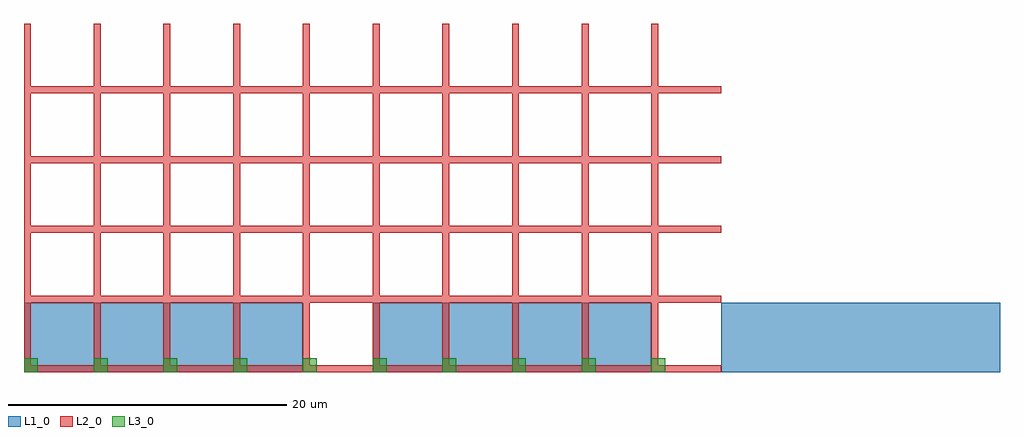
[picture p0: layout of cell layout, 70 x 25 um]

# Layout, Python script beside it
import gdspy

# Define the library and cell for the GDS layout
lib = gdspy.GdsLibrary()
cell = lib.new_cell('layout')

# Draw three rectangular active regions
active_region_width = 20
active_region_height = 5
active_region_spacing = 5
for i in range(3):
    x = i * (active_region_width + active_region_spacing)
    rect = gdspy.Rectangle((x, 0), (x + active_region_width, active_region_height), layer=1)
    cell.add(rect)

# Create a complex polysilicon gate pattern
gate_width = 0.5
gate_pitch = 5
num_vertical_gates = 10
num_horizontal_gates = 5
for i in range(num_vertical_gates):
    x = i * gate_pitch
    for j in range(num_horizontal_gates):
        y = j * gate_pitch
        # Vertical lines
        vline = gdspy.Rectangle((x, y), (x + gate_width, y + gate_pitch), layer=2)
        cell.add(vline)
        # Horizontal lines
        hline = gdspy.Rectangle((x, y), (x + gate_pitch, y + gate_width), layer=2)
        cell.add(hline)

# Add several contact holes at the intersections of the polysilicon gate pattern and the active regions
contact_size = 1
for i in range(num_vertical_gates):
    x = i * gate_pitch
    for j in range(num_horizontal_gates):
        y = j * gate_pitch
        # Check if contact hole is within an active region
        if x < (active_region_width + active_region_spacing) * 3 and y < active_region_height:
            contact = gdspy.Rectangle((x, y), (x + contact_size, y + contact_size), layer=3)
            cell.add(contact)

# Save the design to a GDS file
lib.write_gds('layout.gds')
